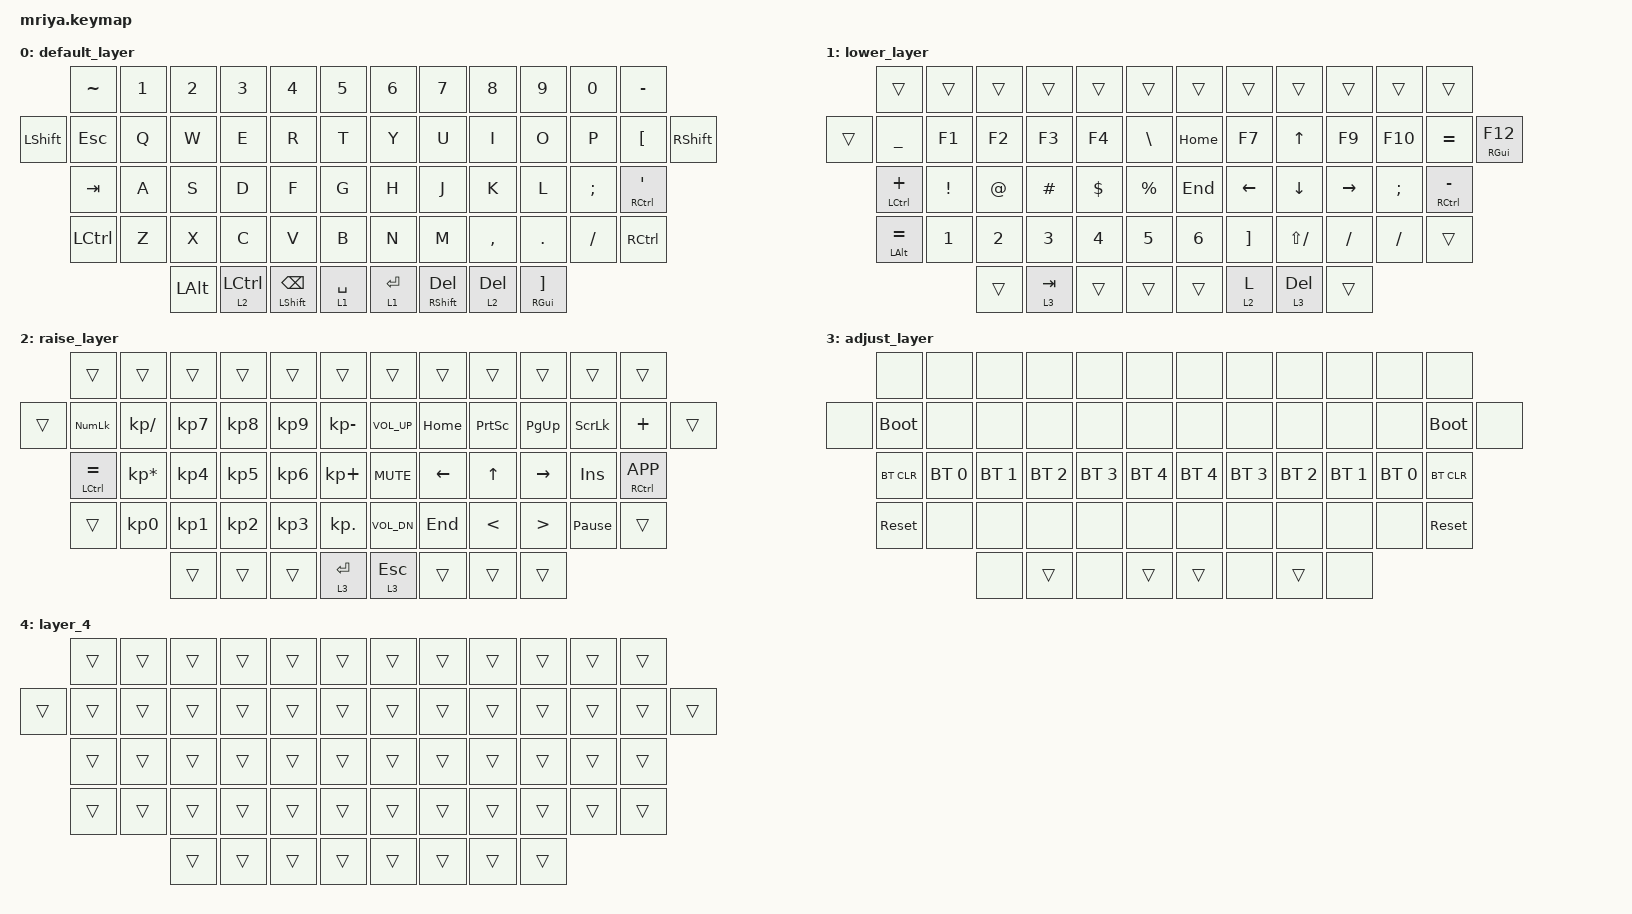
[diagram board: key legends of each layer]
/*
 * Copyright (c) 2023 Andrei Gaevskii
 *
 * SPDX-License-Identifier: MIT
 */

#include <behaviors.dtsi>
#include <dt-bindings/zmk/bt.h>
#include <dt-bindings/zmk/keys.h>

#define DEF 0
#define LWR 1
#define RSE 2
#define ADJ 3

&lt { quick_tap_ms = <200>; };

&mt { quick_tap_ms = <200>; };

/ {
    keymap {
        compatible = "zmk,keymap";

        default_layer {
            bindings = <
                &kp TILDE  &kp N1  &kp N2    &kp N3       &kp N4               &kp N5         &kp N6       &kp N7                  &kp N8     &kp N9                  &kp N0    &kp MINUS
&kp LEFT_SHIFT  &kp ESC    &kp Q   &kp W     &kp E        &kp R                &kp T          &kp Y        &kp U                   &kp I      &kp O                   &kp P     &kp LBKT       &kp RSHFT
                &kp TAB    &kp A   &kp S     &kp D        &kp F                &kp G          &kp H        &kp J                   &kp K      &kp L                   &kp SEMI  &mt RCTRL SQT
                &kp LCTRL  &kp Z   &kp X     &kp C        &kp V                &kp B          &kp N        &kp M                   &kp COMMA  &kp DOT                 &kp FSLH  &kp RCTRL
                                   &kp LALT  &lt 2 LCTRL  &mt LSHFT BACKSPACE  &lt 1 SPACE    &lt 1 ENTER  &mt RIGHT_SHIFT DELETE  &lt 2 DEL  &mt RGUI RIGHT_BRACKET
            >;
        };

        lower_layer {
            bindings = <
        &trans          &trans    &trans  &trans     &trans    &trans           &trans    &trans             &trans        &trans     &trans         &trans
&trans  &kp UNDER       &kp F1    &kp F2  &kp F3     &kp F4    &kp BACKSLASH    &kp HOME  &kp F7             &kp UP_ARROW  &kp F9     &kp F10        &kp EQUAL        &mt RGUI F12
        &mt LCTRL PLUS  &kp EXCL  &kp AT  &kp HASH   &kp DLLR  &kp PRCNT        &kp END   &kp LEFT_ARROW     &kp DOWN      &kp RIGHT  &kp SEMICOLON  &mt RCTRL MINUS
        &mt LALT EQUAL  &kp N1    &kp N2  &kp N3     &kp N4    &kp N5           &kp N6    &kp RIGHT_BRACKET  &kp LS(FSLH)  &kp FSLH   &kp FSLH       &trans
                                  &trans  &lt 3 TAB  &trans    &trans           &trans    &lt 2 L            &lt 3 DEL     &trans
            >;
        };

        raise_layer {
            bindings = <
        &trans           &trans           &trans     &trans     &trans     &trans          &trans        &trans    &trans         &trans            &trans           &trans
&trans  &kp KP_NUM       &kp KP_SLASH     &kp KP_N7  &kp KP_N8  &kp KP_N9  &kp KP_MINUS    &kp C_VOL_UP  &kp HOME  &kp PSCRN      &kp PG_UP         &kp SLCK         &kp PLUS         &trans
        &mt LCTRL EQUAL  &kp KP_MULTIPLY  &kp KP_N4  &kp KP_N5  &kp KP_N6  &kp KP_PLUS     &kp C_MUTE    &kp LEFT  &kp UP         &kp RIGHT         &kp INS          &mt RCTRL K_APP
        &trans           &kp KP_N0        &kp KP_N1  &kp KP_N2  &kp KP_N3  &kp KP_DOT      &kp C_VOL_DN  &kp END   &kp LESS_THAN  &kp GREATER_THAN  &kp PAUSE_BREAK  &trans
                                          &trans     &trans     &trans     &lt 3 RET       &lt 3 ESC     &trans    &trans         &trans
            >;
        };

        adjust_layer {
            bindings = <
       &none        &none         &none         &none         &none         &none           &none         &none         &none         &none         &none         &none
&none  &bootloader  &none         &none         &none         &none         &none           &none         &none         &none         &none         &none         &bootloader  &none
       &bt BT_CLR   &bt BT_SEL 0  &bt BT_SEL 1  &bt BT_SEL 2  &bt BT_SEL 3  &bt BT_SEL 4    &bt BT_SEL 4  &bt BT_SEL 3  &bt BT_SEL 2  &bt BT_SEL 1  &bt BT_SEL 0  &bt BT_CLR
       &sys_reset   &none         &none         &none         &none         &none           &none         &none         &none         &none         &none         &sys_reset
                                  &none         &trans        &none         &trans          &trans        &none         &trans        &none
            >;
        };

        layer_4 {
            bindings = <
        &trans  &trans  &trans  &trans  &trans  &trans    &trans  &trans  &trans  &trans  &trans  &trans
&trans  &trans  &trans  &trans  &trans  &trans  &trans    &trans  &trans  &trans  &trans  &trans  &trans  &trans
        &trans  &trans  &trans  &trans  &trans  &trans    &trans  &trans  &trans  &trans  &trans  &trans
        &trans  &trans  &trans  &trans  &trans  &trans    &trans  &trans  &trans  &trans  &trans  &trans
                        &trans  &trans  &trans  &trans    &trans  &trans  &trans  &trans
            >;
        };
    };
};
